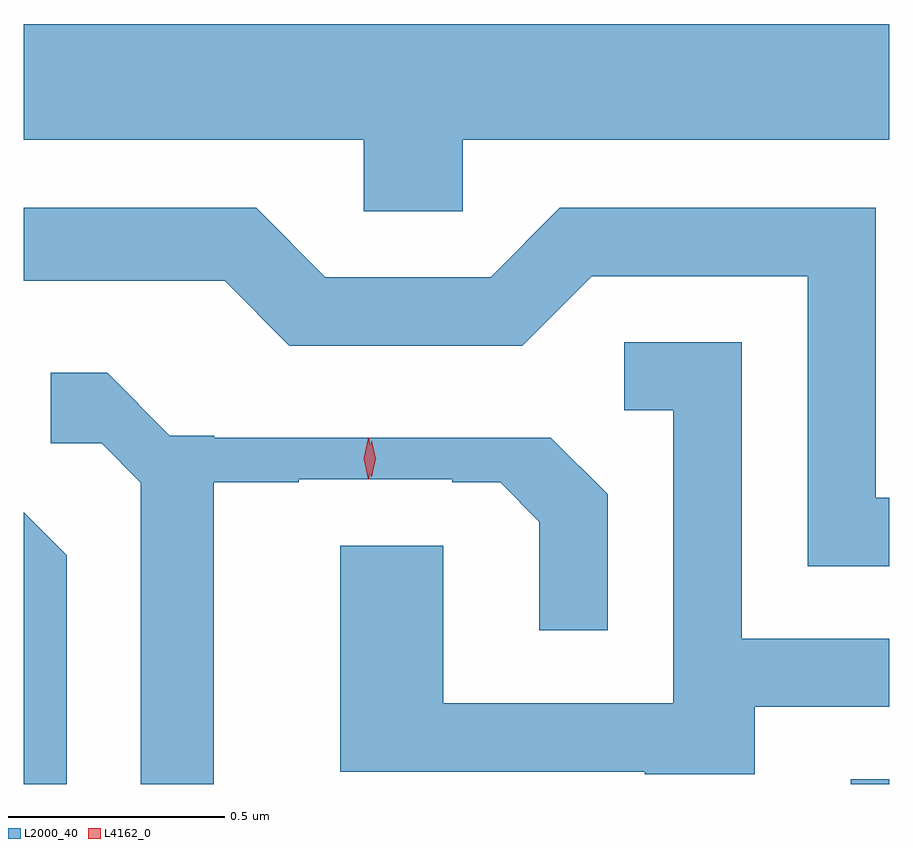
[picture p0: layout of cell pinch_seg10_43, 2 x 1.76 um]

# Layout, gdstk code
import gdstk
lib = gdstk.Library(unit=1e-6, precision=1e-09)
def R(c, l, rs):  # rectangles x0, y0, x1, y1
    for r in rs: c.add(gdstk.rectangle(r[:2], r[2:], *l))
def P(c, l, *ps):  # polygons
    for p in ps: c.add(gdstk.Polygon(p, *l))
L2000_40 = (2000, 40)
L4162_0 = (4162, 0)

pinch_seg10_43 = lib.new_cell('pinch_seg10_43')
R(pinch_seg10_43, L2000_40, [(594.371,2187.908,594.46,2187.919)])
P(pinch_seg10_43, L2000_40, [(593.474,2189.396),(594.46,2189.396),(594.46,2189.664),(592.46,2189.664),(592.46,2189.396),(593.246,2189.396),(593.246,2189.231),(593.474,2189.231)],
  [(594.46,2188.569),(594.429,2188.569),(594.429,2189.239),(593.699,2189.239),(593.539,2189.079),(593.157,2189.079),(592.997,2189.239),(592.46,2189.239),(592.46,2189.071),(592.924,2189.071),(593.074,2188.921),(593.612,2188.921),(593.772,2189.081),(594.271,2189.081),(594.271,2188.411),(594.46,2188.411)],
  [(594.149,2188.086),(594.46,2188.086),(594.46,2188.244),(594.119,2188.244),(594.119,2188.929),(593.848,2188.929),(593.848,2188.771),(593.961,2188.771),(593.961,2188.094),(593.429,2188.094),(593.429,2188.459),(593.191,2188.459),(593.191,2187.936),(593.895,2187.936),(593.895,2187.931),(594.149,2187.931)],
  [(592.899,2188.605),(593.095,2188.605),(593.095,2188.612),(593.45,2188.612),(593.45,2188.605),(593.561,2188.605),(593.651,2188.514),(593.651,2188.263),(593.809,2188.263),(593.809,2188.577),(593.678,2188.708),(592.9,2188.708),(592.9,2188.713),(592.798,2188.713),(592.653,2188.858),(592.523,2188.858),(592.523,2188.695),(592.64,2188.695),(592.731,2188.604),(592.731,2187.908),(592.899,2187.908)],
  [(592.559,2188.437),(592.46,2188.536),(592.46,2187.908),(592.559,2187.908)])
P(pinch_seg10_43, L4162_0, [(593.263,2188.618),(593.254,2188.66),(593.264,2188.701),(593.264,2188.702),(593.264,2188.701),(593.274,2188.66),(593.264,2188.618),(593.264,2188.618)],
  [(593.256,2188.612),(593.256,2188.612),(593.246,2188.66),(593.256,2188.708),(593.256,2188.708),(593.257,2188.708),(593.266,2188.66),(593.257,2188.612)])

lib.write_gds('pinch_seg10_43.gds')
